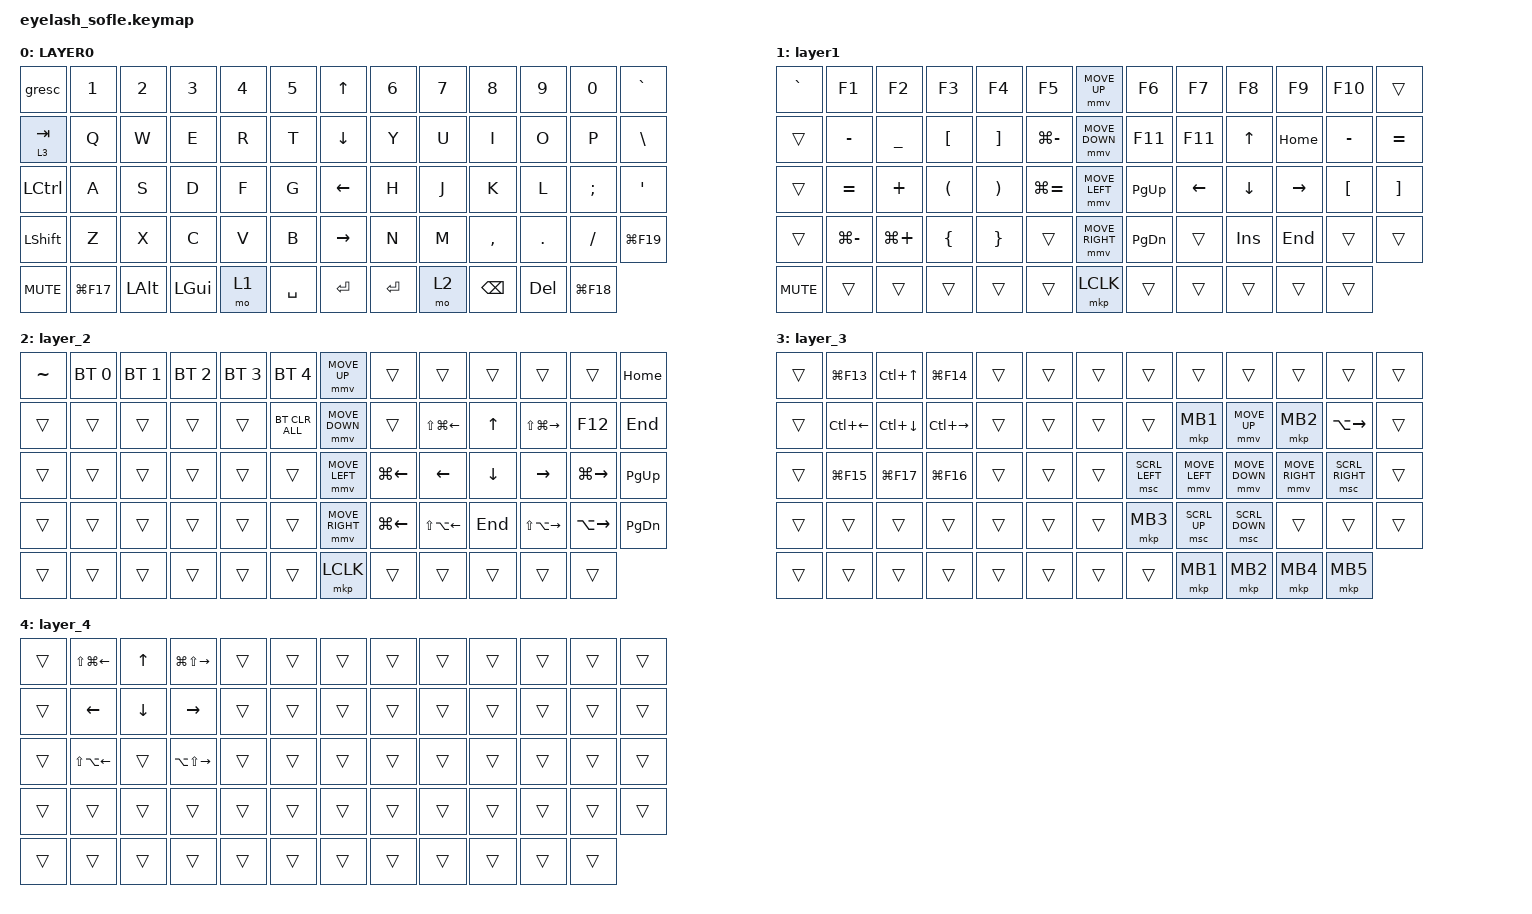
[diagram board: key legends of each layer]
#define ZMK_POINTING_DEFAULT_MOVE_VAL 1400  // 600
#define ZMK_POINTING_DEFAULT_SCRL_VAL 25

// 10

#define U_MOUSE_MOVE_DELAY 0

#include <input/processors.dtsi>
#include <zephyr/dt-bindings/input/input-event-codes.h>
#include <behaviors.dtsi>
#include <dt-bindings/zmk/bt.h>
#include <dt-bindings/zmk/keys.h>
#include <dt-bindings/zmk/pointing.h>

&mmv_input_listener { input-processors = <&zip_xy_scaler 2 2>; };

&msc_input_listener { input-processors = <&zip_scroll_scaler 2 2>; };

&msc {
    acceleration-exponent = <1>;      // 0
    time-to-max-speed-ms = <100>;       // 300
    delay-ms = <0>;                   // 0
};

&mmv {
    time-to-max-speed-ms = <400>;
    acceleration-exponent = <1>;
    trigger-period-ms = <16>;
};

/ {
    scroll_encoder: scroll_encoder {
        compatible = "zmk,behavior-sensor-rotate";
        #sensor-binding-cells = <0>;
        bindings = <&msc SCRL_DOWN>, <&msc SCRL_UP>;

        tap-ms = <100>;
    };

    behaviors {
    };

    keymap {
        compatible = "zmk,keymap";

        layer0 {
            bindings = <
&gresc      &kp N1       &kp N2        &kp N3        &kp N4  &kp N5       &kp UP_ARROW     &kp N6   &kp N7  &kp N8         &kp N9      &kp N0       &kp GRAVE
&lt 3 TAB   &kp Q        &kp W         &kp E         &kp R   &kp T        &kp DOWN_ARROW   &kp Y    &kp U   &kp I          &kp O       &kp P        &kp BSLH
&kp LCTRL   &kp A        &kp S         &kp D         &kp F   &kp G        &kp LEFT_ARROW   &kp H    &kp J   &kp K          &kp L       &kp SEMI     &kp APOS
&kp LSHFT   &kp Z        &kp X         &kp C         &kp V   &kp B        &kp RIGHT_ARROW  &kp N    &kp M   &kp COMMA      &kp DOT     &kp FSLH     &kp LG(F19)
&kp C_MUTE  &kp LG(F17)  &kp LEFT_ALT  &kp LEFT_GUI  &mo 1   &kp SPACE    &kp ENTER        &kp RET  &mo 2   &kp BACKSPACE  &kp DELETE  &kp LG(F18)
            >;

            display-name = "LAYER0";
        };

        layer_1 {
            bindings = <
&kp GRAVE   &kp F1         &kp F2          &kp F3                &kp F4                 &kp F5           &mmv MOVE_UP     &kp F6     &kp F7    &kp F8      &kp F9     &kp F10           &trans
&trans      &kp MINUS      &kp UNDERSCORE  &kp LEFT_BRACKET      &kp RIGHT_BRACKET      &kp LG(MINUS)    &mmv MOVE_DOWN   &kp F11    &kp F11   &kp UP      &kp HOME   &kp MINUS         &kp EQUAL
&trans      &kp EQUAL      &kp PLUS        &kp LEFT_PARENTHESIS  &kp RIGHT_PARENTHESIS  &kp LG(EQUAL)    &mmv MOVE_LEFT   &kp PG_UP  &kp LEFT  &kp DOWN    &kp RIGHT  &kp LEFT_BRACKET  &kp RIGHT_BRACKET
&trans      &kp LG(MINUS)  &kp LG(PLUS)    &kp LEFT_BRACE        &kp RIGHT_BRACE        &trans           &mmv MOVE_RIGHT  &kp PG_DN  &trans    &kp INSERT  &kp END    &trans            &trans
&kp C_MUTE  &trans         &trans          &trans                &trans                 &trans           &mkp LCLK        &trans     &trans    &trans      &trans     &trans
            >;

            display-name = "layer1";
        };

        layer_2 {
            bindings = <
&kp TILDE  &bt BT_SEL 0  &bt BT_SEL 1  &bt BT_SEL 2  &bt BT_SEL 3  &bt BT_SEL 4      &mmv MOVE_UP     &trans              &trans                  &trans          &trans                   &trans               &kp HOME
&trans     &trans        &trans        &trans        &trans        &bt BT_CLR_ALL    &mmv MOVE_DOWN   &trans              &kp LS(LG(LEFT_ARROW))  &kp UP_ARROW    &kp LS(LG(RIGHT_ARROW))  &kp F12              &kp END
&trans     &trans        &trans        &trans        &trans        &trans            &mmv MOVE_LEFT   &kp LG(LEFT_ARROW)  &kp LEFT_ARROW          &kp DOWN_ARROW  &kp RIGHT_ARROW          &kp LG(RIGHT_ARROW)  &kp PAGE_UP
&trans     &trans        &trans        &trans        &trans        &trans            &mmv MOVE_RIGHT  &kp LG(LEFT_ARROW)  &kp LS(LA(LEFT_ARROW))  &kp END         &kp LS(LA(RIGHT_ARROW))  &kp LA(RIGHT_ARROW)  &kp PAGE_DOWN
&trans     &trans        &trans        &trans        &trans        &trans            &mkp LCLK        &trans              &trans                  &trans          &trans                   &trans
            >;
        };

        layer_3 {
            bindings = <
&trans  &kp LG(F13)         &kp LC(UP_ARROW)    &kp LG(F14)    &trans  &trans    &trans  &trans          &trans          &trans          &trans           &trans           &trans
&trans  &kp LC(LEFT_ARROW)  &kp LC(DOWN_ARROW)  &kp LC(RIGHT)  &trans  &trans    &trans  &trans          &mkp MB1        &mmv MOVE_UP    &mkp MB2         &kp LA(RIGHT)    &trans
&trans  &kp LG(F15)         &kp LG(F17)         &kp LG(F16)    &trans  &trans    &trans  &msc SCRL_LEFT  &mmv MOVE_LEFT  &mmv MOVE_DOWN  &mmv MOVE_RIGHT  &msc SCRL_RIGHT  &trans
&trans  &trans              &trans              &trans         &trans  &trans    &trans  &mkp MB3        &msc SCRL_UP    &msc SCRL_DOWN  &trans           &trans           &trans
&trans  &trans              &trans              &trans         &trans  &trans    &trans  &trans          &mkp MB1        &mkp MB2        &mkp MB4         &mkp MB5
            >;
        };

        layer_4 {
            bindings = <
&trans  &kp LS(LG(LEFT))  &kp UP    &kp LG(LS(RIGHT))  &trans  &trans    &trans  &trans  &trans  &trans  &trans  &trans  &trans
&trans  &kp LEFT          &kp DOWN  &kp RIGHT          &trans  &trans    &trans  &trans  &trans  &trans  &trans  &trans  &trans
&trans  &kp LS(LA(LEFT))  &trans    &kp LA(LS(RIGHT))  &trans  &trans    &trans  &trans  &trans  &trans  &trans  &trans  &trans
&trans  &trans            &trans    &trans             &trans  &trans    &trans  &trans  &trans  &trans  &trans  &trans  &trans
&trans  &trans            &trans    &trans             &trans  &trans    &trans  &trans  &trans  &trans  &trans  &trans
            >;
        };
    };

    conditional_layers {
        compatible = "zmk,conditional-layers";

        layer4condition {
            if-layers = <3 1>;
            then-layer = <4>;
        };
    };
};
